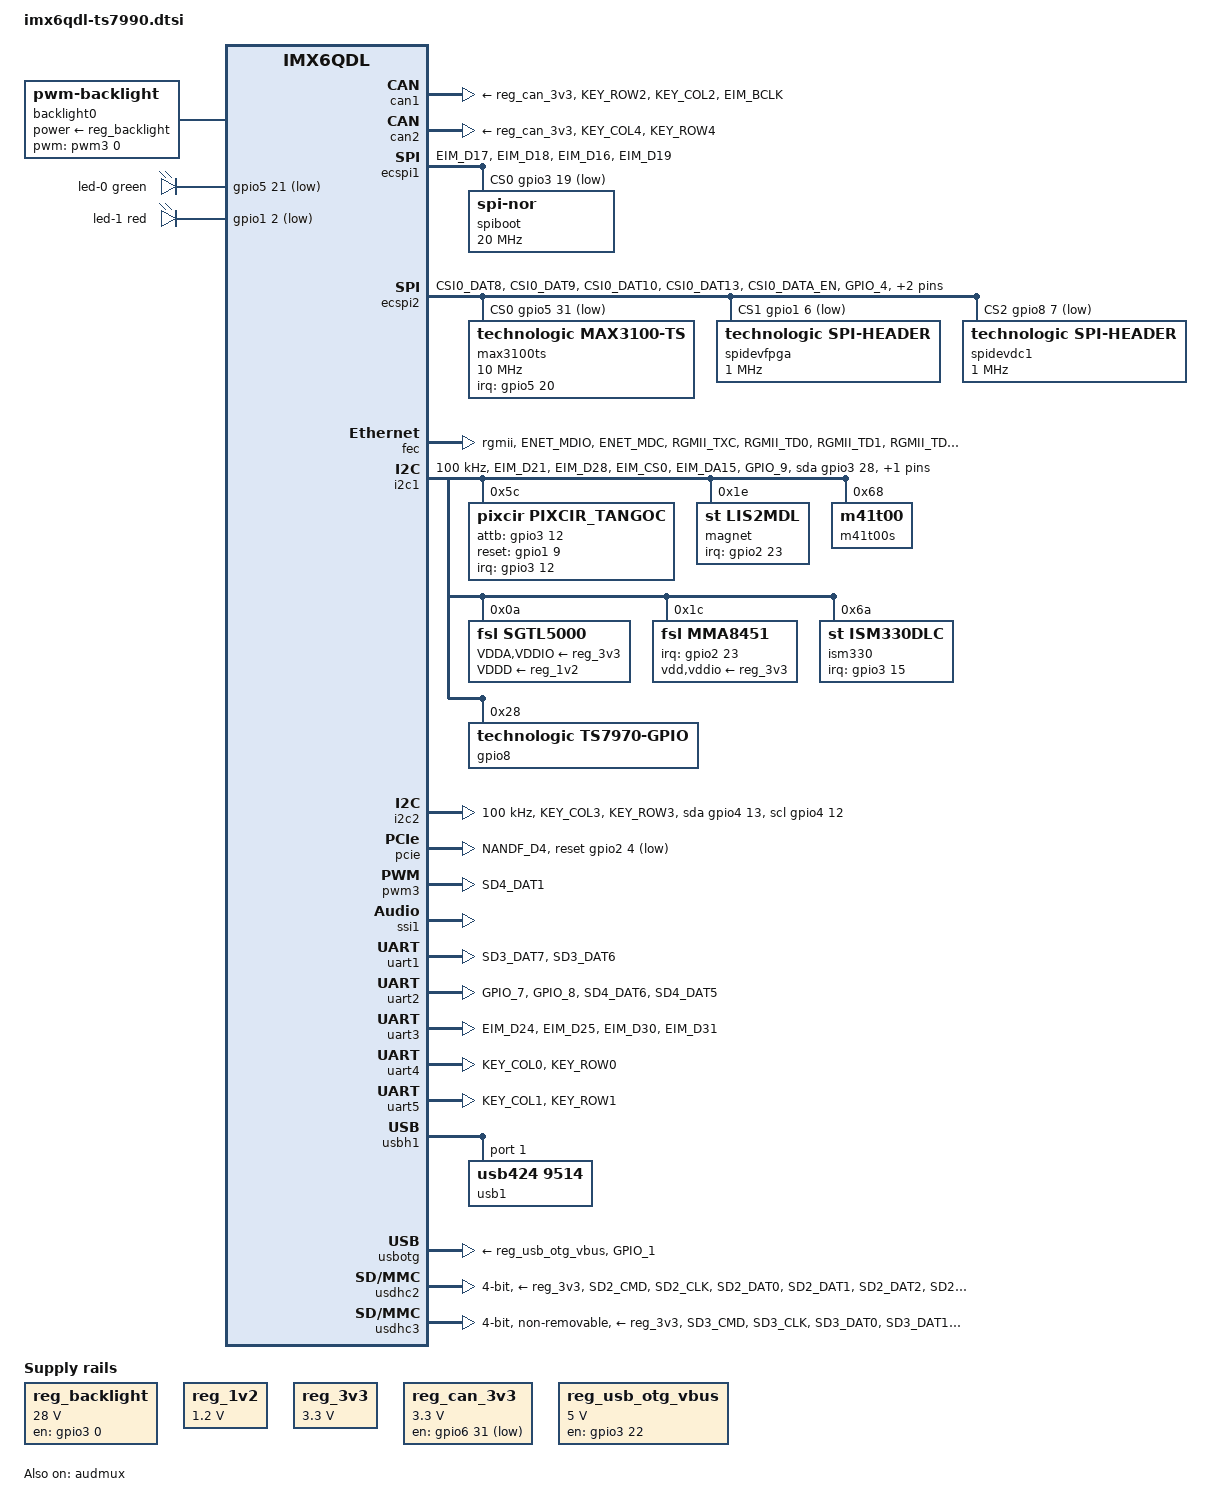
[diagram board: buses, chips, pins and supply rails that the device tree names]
// SPDX-License-Identifier: GPL-2.0 OR X11
/*
 * Copyright 2017-2022 Technologic Systems, Inc. dba embeddedTS
 */

#include <dt-bindings/gpio/gpio.h>
#include <dt-bindings/leds/common.h>
#include <dt-bindings/interrupt-controller/irq.h>

/ {
	chosen {
		stdout-path = &uart1;
	};

	aliases {
		ethernet0 = &fec;
		ethernet1 = &ethernet;
	};

	backlight0: backlight {
		compatible = "pwm-backlight";
		power-supply = <&reg_backlight>;
		pwms = <&pwm3 0 5000000 0>;
		brightness-levels = <0 100>;
		num-interpolated-steps = <100>;
		default-brightness-level = <100>;
	};

	led-controller {
		pinctrl-names = "default";
		pinctrl-0 = <&pinctrl_leds1>;
		compatible = "gpio-leds";

		led-0 {
			color = <LED_COLOR_ID_GREEN>;
			function = LED_FUNCTION_POWER;
			gpios = <&gpio5 21 GPIO_ACTIVE_LOW>;
			default-state = "on";
		};

		led-1 {
			color = <LED_COLOR_ID_RED>;
			function = LED_FUNCTION_INDICATOR;
			gpios = <&gpio1 2 GPIO_ACTIVE_LOW>;
			default-state = "off";
		};
	};


	reg_backlight: regulator-backlight {
		compatible = "regulator-fixed";
		regulator-name = "BACKLIGHT_LCD";
		pinctrl-names = "default";
		pinctrl-0 = <&pinctrl_bkl>;
		regulator-min-microvolt = <28000000>;
		regulator-max-microvolt = <28000000>;
		startup-delay-us = <2000>;
		gpio = <&gpio3 0 GPIO_ACTIVE_HIGH>;
		enable-active-high;
	};

	reg_1v2: regulator-1v2 {
		compatible = "regulator-fixed";
		regulator-name = "1V2";
		regulator-min-microvolt = <1200000>;
		regulator-max-microvolt = <1200000>;
		regulator-always-on;
	};

	reg_3v3: regulator-3v3 {
		compatible = "regulator-fixed";
		regulator-name = "3V3";
		regulator-min-microvolt = <3300000>;
		regulator-max-microvolt = <3300000>;
		regulator-always-on;
	};

	reg_can_3v3: regulator-can-en {
		compatible = "regulator-fixed";
		regulator-name = "CAN_EN";
		regulator-min-microvolt = <3300000>;
		regulator-max-microvolt = <3300000>;
		gpio = <&gpio6 31 GPIO_ACTIVE_HIGH>;
	};

	reg_usb_otg_vbus: regulator-usb-otg-vbus {
		compatible = "regulator-fixed";
		regulator-name = "USB_OTG_VBUS";
		regulator-min-microvolt = <5000000>;
		regulator-max-microvolt = <5000000>;
		gpio = <&gpio3 22 GPIO_ACTIVE_HIGH>;
		enable-active-high;
	};

	reg_wlan_vqmmc: regulator-wlan-vqmmc {
		compatible = "regulator-fixed";
		regulator-name = "WLAN_1V8";
		regulator-min-microvolt = <1800000>;
		regulator-max-microvolt = <1800000>;
		gpio = <&gpio8 14 GPIO_ACTIVE_HIGH>;
		startup-delay-us = <100000>;
		enable-active-high;
		status = "disabled";
	};

	sound {
		audio-codec = <&sgtl5000>;
		audio-routing =
			"MIC_IN", "Mic Jack",
			"Mic Jack", "Mic Bias",
			"Headphone Jack", "HP_OUT";
		compatible = "fsl,imx-audio-sgtl5000";
		model = "On-board Codec";
		mux-ext-port = <3>;
		mux-int-port = <1>;
		ssi-controller = <&ssi1>;
	};

	touch_spi: spi {
		compatible = "spi-gpio";
		pinctrl-names = "default";
		pinctrl-0 = <&pinctrl_touch_spi>;
		gpio-sck = <&gpio2 20 GPIO_ACTIVE_HIGH>;
		gpio-mosi = <&gpio2 18 GPIO_ACTIVE_HIGH>;
		gpio-miso = <&gpio2 17 GPIO_ACTIVE_HIGH>;
		cs-gpios = <&gpio2 19 GPIO_ACTIVE_LOW>;
		num-chipselects = <1>;
		#address-cells = <1>;
		#size-cells = <0>;
		status = "disabled";

		tsc2046: touchscreen@0 {
			compatible = "ti,tsc2046";
			reg = <0>;
			/* Interrupt configured by GPIO hog, shared with cap touch */
			interrupt-parent = <&gpio3>;
			interrupts = <12 IRQ_TYPE_EDGE_FALLING>;
			vcc-supply = <&reg_3v3>;
			spi-max-frequency = <100000>;
			pendown-gpio = <&gpio3 12 0>;
			ti,penirq-recheck-delay-usecs = /bits/ 16 <5000>;
			ti,vref-mv = <3300>;
			ti,swap-xy;
			ti,keep-vref-on;
			ti,settle-delay-usec = /bits/ 16 <5000>;
			ti,vref-delay-usecs = /bits/ 16 <0>;
			ti,x-plate-ohms = /bits/ 16 <400>;
			ti,y-plate-ohms = /bits/ 16 <400>;
			ti,debounce-rep = /bits/ 16 <2>;
			ti,debounce-tol = /bits/ 16 <65535>;
			ti,debounce-max = /bits/ 16 <0>;
			ti,pressure-max = /bits/ 16 <15000>;
			ti,pendown-gpio-debounce = <10000>;
			linux,wakeup;
		};
	};
};

&audmux {
	status = "okay";
};

&can1 {
	pinctrl-names = "default";
	pinctrl-0 = <&pinctrl_flexcan1>;
	xceiver-supply = <&reg_can_3v3>;
	status = "okay";
};

&can2 {
	pinctrl-names = "default";
	pinctrl-0 = <&pinctrl_flexcan2>;
	xceiver-supply = <&reg_can_3v3>;
	status = "okay";
};


&ecspi1 {
	fsl,spi-num-chipselects = <1>;
	cs-gpios = <&gpio3 19 GPIO_ACTIVE_LOW>;
	pinctrl-names = "default";
	pinctrl-0 = <&pinctrl_ecspi1>;
	status = "okay";

	spiboot: flash@0 {
		compatible = "jedec,spi-nor";
		spi-max-frequency = <20000000>;
		reg = <0>;
	};
};

&ecspi2 {
	num-cs = <3>;
	cs-gpios = <
		&gpio5 31 GPIO_ACTIVE_LOW
		&gpio1 6 GPIO_ACTIVE_LOW
		&gpio8 7 GPIO_ACTIVE_LOW
	>;
	pinctrl-names = "default";
	pinctrl-0 = <&pinctrl_ecspi2>;
	status = "okay";

	max3100ts: serial@0 {
		compatible = "technologic,max3100-ts";
		reg = <0>;
		interrupt-parent = <&gpio5>;
		interrupts = <20 IRQ_TYPE_LEVEL_LOW>;
		spi-max-frequency = <10000000>;
		loopback = <0>;
		crystal = <1>;
		poll-time = <100>;
	};

	spidevfpga: spidev@1 {
		compatible = "technologic,spi-header";
		reg = <1>;
		spi-max-frequency = <1000000>;
	};

	spidevdc1: spidev@2 {
		compatible = "technologic,spi-header";
		reg = <2>;
		spi-max-frequency = <1000000>;
	};
};

&fec {
	pinctrl-names = "default";
	pinctrl-0 = <&pinctrl_enet>;
	phy-mode = "rgmii";
	status = "okay";
};

&gpio1 {
	gpio-line-names = "", "", "", "", "", "", "", "", "", "TOUCH_RESET",
		"", "", "", "", "", "", "", "", "", "", "", "",
		"", "", "", "", "", "", "", "", "";
};

&gpio2 {
	gpio-line-names = "", "", "", "", "PCIE_RESET#", "", "", "", "", "", "",
		"USB_HUB_RESET#", "", "", "", "", "", "", "", "", "", "",
		"EN_USB_5V", "", "", "JP_OPTION#", "JP_SD_BOOT#", "", "",
		"EN_800_NIT";
};

&gpio3 {
	gpio-line-names = "", "", "", "", "5V_REG_PWM_MODE", "EN_HUB_3.3V", "",
		"", "", "PUSH_SW_1#", "PUSH_SW_2#", "POE_DETECT#", "", "", "",
		"", "", "", "", "", "", "", "", "EN_EMMC_3.3V#";
};

&gpio4 {
	gpio-line-names = "", "", "", "", "", "", "", "", "", "", "", "", "",
		"", "", "", "", "", "EN_232_TRANS";
};

&gpio5 {
	gpio-line-names = "", "", "", "", "", "", "", "", "", "", "", "", "",
		"", "", "", "", "", "EN_NIM_USB#", "", "", "", "", "", "", "",
		"", "", "", "", "NIM_PWR_ON";
};

&i2c1 {
	clock-frequency = <100000>;
	pinctrl-names = "default", "gpio";
	pinctrl-0 = <&pinctrl_i2c1>;
	pinctrl-1 = <&pinctrl_i2c1_gpio>;
	scl-gpios = <&gpio3 21 (GPIO_ACTIVE_HIGH | GPIO_OPEN_DRAIN)>;
	sda-gpios = <&gpio3 28 (GPIO_ACTIVE_HIGH | GPIO_OPEN_DRAIN)>;
	status = "okay";

	pixcir_tangoc: touchscreen@5c {
		compatible = "pixcir,pixcir_tangoc";
		reg = <0x5c>;
		/* Interrupt configured by GPIO hog, shared with res touch */
		interrupt-parent = <&gpio3>;
		interrupts = <12 IRQ_TYPE_LEVEL_LOW>;
		attb-gpio = <&gpio3 12 GPIO_ACTIVE_HIGH>;
		reset-gpios = <&gpio1 9 GPIO_ACTIVE_HIGH>;
		touchscreen-size-x = <1024>;
		touchscreen-size-y = <600>;
		/*
		 * The actual interrupt pin logic is inverted from touchscreen
		 * INT output pin on the TS-TPC-7990. Indicate that we want the
		 * touchscreen to drive active high, but the CPU interrupt will
		 * actually be active low.
		 */
		invert-int-output;
		wakeup-source;
	};

	/* Only present on REV E and above */
	magnet: magnetometer@1e {
		compatible = "st,lis2mdl";
		reg = <0x1e>;
		st,drdy-int-pin = <1>;
		interrupt-parent = <&gpio2>;
		interrupts = <23 IRQ_TYPE_LEVEL_HIGH>;
	};

	m41t00s: rtc@68 {
		compatible = "m41t00";
		reg = <0x68>;
	};

	sgtl5000: audio-codec@a {
		compatible = "fsl,sgtl5000";
		pinctrl-names = "default";
		pinctrl-0 = <&pinctrl_sgtl5000>;
		reg = <0x0a>;
		clocks = <&clks 201>;
		VDDA-supply = <&reg_3v3>;
		VDDIO-supply = <&reg_3v3>;
		VDDD-supply = <&reg_1v2>;
	};

	/* Only present on REV D and below */
        mma8451: accelerometer@1c {
		compatible = "fsl,mma8451";
		reg = <0x1c>;
		vdd-supply = <&reg_3v3>;
		vddio-supply = <&reg_3v3>;
		interrupt-parent = <&gpio2>;
		interrupts = <23 IRQ_TYPE_LEVEL_LOW>;
		interrupt-names = "INT1";
		/* INT2 is connected to CPU but is unused */
	};

	/* Only present on REV E and above */
	ism330: gyro@6a {
		compatible = "st,ism330dlc";
		reg = <0x6a>;
		interrupt-parent = <&gpio3>;
		interrupts = <15 IRQ_TYPE_LEVEL_HIGH>;
	};

	gpio8: gpio@28 {
		compatible = "technologic,ts7970-gpio";
		reg = <0x28>;
		#gpio-cells = <2>;
		gpio-controller;
		ngpios = <64>;
		base = <224>;

		gpio-line-names = "", "", "", "", "", "", "DIO_8", "DIO_9", "",
			"", "", "", "", "BT_EN", "WL_EN", "", "", "", "", "",
			"DIO_1_SEL0", "DIO_2_SEL1", "DIO_3_SEL2", "DIO_4_PWM",
			"DIO_5_SILAB_DATA", "DIO_6_POWER_FAIL", "DIO_7", "IRQ1",
			"", "", "REBOOT", "", "", "", "", "", "", "", "", "",
			"", "", "", "", "TTYMAX0_RXD", "TTYMAX1_RXD",
			"TTYMAX2_RXD", "TXEN3_485", "COM1_TXD", "COM2_TXD",
			"COM3_TXD", "", "COM1_RTS", "TTYMAX0_CTS",
			"TTYMAX1_CTS", "TTYMAX2_CTS", "", "", "", "",
			"MT_LCD_PRESENT", "EN_SPKR";

		en-spkr-hog {
			gpio-hog;
			gpios = <61 GPIO_ACTIVE_HIGH>;
			line-name = "EN_SPKR";
			output-high;
		};
	};
};

&i2c2 {
	clock-frequency = <100000>;
	pinctrl-names = "default", "gpio";
	pinctrl-0 = <&pinctrl_i2c2>;
	pinctrl-1 = <&pinctrl_i2c2_gpio>;
	scl-gpios = <&gpio4 12 (GPIO_ACTIVE_HIGH | GPIO_OPEN_DRAIN)>;
	sda-gpios = <&gpio4 13 (GPIO_ACTIVE_HIGH | GPIO_OPEN_DRAIN)>;
	status = "okay";
};

&iomuxc {
	pinctrl-names = "default";
	pinctrl-0 = <&pinctrl_hog>;

	imx6-ts7990 {
		pinctrl_ecspi1: ecspi1grp {
			fsl,pins = <
				MX6QDL_PAD_EIM_D17__ECSPI1_MISO		0x100b1
				MX6QDL_PAD_EIM_D18__ECSPI1_MOSI		0x100b1
				MX6QDL_PAD_EIM_D16__ECSPI1_SCLK		0x100b1
				MX6QDL_PAD_EIM_D19__GPIO3_IO19		0x100b1 /* Onboard flash CS1# */
			>;
		};

		pinctrl_ecspi2: ecspi2grp {
			fsl,pins = <
				MX6QDL_PAD_CSI0_DAT8__ECSPI2_SCLK	0x100b1 /* FPGA_SPI_CLK */
				MX6QDL_PAD_CSI0_DAT9__ECSPI2_MOSI	0x100b1 /* FPGA_SPI_MOSI */
				MX6QDL_PAD_CSI0_DAT10__ECSPI2_MISO	0x100b1 /* FPGA_SPI_MISO */
				MX6QDL_PAD_CSI0_DAT13__GPIO5_IO31	0x1b088 /* FPGA_SPI_CS0# */
				MX6QDL_PAD_CSI0_DATA_EN__GPIO5_IO20	0x1b088 /* FPGA_IRQ_0 */
				MX6QDL_PAD_GPIO_4__GPIO1_IO04		0x1b088 /* FPGA_IRQ_1 */
				MX6QDL_PAD_EIM_EB0__GPIO2_IO28		0x1b088 /* FPGA_IRQ_2 */
				MX6QDL_PAD_GPIO_6__GPIO1_IO06		0x1b088 /* FPGA_SPI_CS1# */
			>;
		};

		pinctrl_pwm3: pwm3grp {
			fsl,pins = <
				MX6QDL_PAD_SD4_DAT1__PWM3_OUT		0x1b088
			>;
		};

		pinctrl_enet: enetgrp {
			fsl,pins = <
				MX6QDL_PAD_ENET_MDIO__ENET_MDIO		0x1b0b0
				MX6QDL_PAD_ENET_MDC__ENET_MDC		0x1b0b0
				MX6QDL_PAD_RGMII_TXC__RGMII_TXC		0x1b0b0
				MX6QDL_PAD_RGMII_TD0__RGMII_TD0		0x1b0b0
				MX6QDL_PAD_RGMII_TD1__RGMII_TD1		0x1b0b0
				MX6QDL_PAD_RGMII_TD2__RGMII_TD2		0x1b0b0
				MX6QDL_PAD_RGMII_TD3__RGMII_TD3		0x1b0b0
				MX6QDL_PAD_RGMII_TX_CTL__RGMII_TX_CTL	0x1b0b0
				MX6QDL_PAD_RGMII_RXC__RGMII_RXC		0x1b0b0
				MX6QDL_PAD_RGMII_RD0__RGMII_RD0		0x1b0b0
				MX6QDL_PAD_RGMII_RD1__RGMII_RD1		0x1b0b0
				MX6QDL_PAD_RGMII_RD2__RGMII_RD2		0x1b0b0
				MX6QDL_PAD_RGMII_RD3__RGMII_RD3		0x1b0b0
				MX6QDL_PAD_RGMII_RX_CTL__RGMII_RX_CTL	0x1b0b0
				MX6QDL_PAD_ENET_REF_CLK__ENET_TX_CLK	0x1b0b0
				MX6QDL_PAD_ENET_TX_EN__GPIO1_IO28	0x1b088
				MX6QDL_PAD_DI0_PIN4__GPIO4_IO20		0x1b088 /* ETH_PHY_RESET */
			>;
		};

		pinctrl_bkl: bklreggrp {
			fsl,pins = <
				MX6QDL_PAD_EIM_DA0__GPIO3_IO00		0x1b088
			>;
		};

		pinctrl_flexcan1: flexcan1grp {
			fsl,pins = <
				MX6QDL_PAD_KEY_ROW2__FLEXCAN1_RX	0x1b088
				MX6QDL_PAD_KEY_COL2__FLEXCAN1_TX	0x1b088
				MX6QDL_PAD_EIM_BCLK__GPIO6_IO31		0x1b088 /* EN_CAN# */
			>;
		};

		pinctrl_flexcan2: flexcan2grp {
			fsl,pins = <
				MX6QDL_PAD_KEY_COL4__FLEXCAN2_TX	0x1b088
				MX6QDL_PAD_KEY_ROW4__FLEXCAN2_RX	0x1b088
			>;
		};

		pinctrl_ipu: tsipugrp {
			fsl,pins = <
				MX6QDL_PAD_DI0_DISP_CLK__IPU1_DI0_DISP_CLK	0x38 /* LCD_PIX_CLK */
				MX6QDL_PAD_DI0_PIN15__IPU1_DI0_PIN15		0xf0 /* LCD_DE */
				MX6QDL_PAD_DISP0_DAT2__IPU1_DISP0_DATA02	0xe0 /* LCD_D02 */
				MX6QDL_PAD_DISP0_DAT3__IPU1_DISP0_DATA03	0xe0 /* LCD_D03 */
				MX6QDL_PAD_DISP0_DAT4__IPU1_DISP0_DATA04	0xe0 /* LCD_D04 */
				MX6QDL_PAD_DISP0_DAT5__IPU1_DISP0_DATA05	0xe0 /* LCD_D05 */
				MX6QDL_PAD_DISP0_DAT6__IPU1_DISP0_DATA06	0xe0 /* LCD_D06 */
				MX6QDL_PAD_DISP0_DAT7__IPU1_DISP0_DATA07	0xe0 /* LCD_D07 */
				MX6QDL_PAD_DISP0_DAT10__IPU1_DISP0_DATA10	0xe0 /* LCD_D10 */
				MX6QDL_PAD_DISP0_DAT11__IPU1_DISP0_DATA11	0xe0 /* LCD_D11 */
				MX6QDL_PAD_DISP0_DAT12__IPU1_DISP0_DATA12	0xe0 /* LCD_D12 */
				MX6QDL_PAD_DISP0_DAT13__IPU1_DISP0_DATA13	0xe0 /* LCD_D13 */
				MX6QDL_PAD_DISP0_DAT14__IPU1_DISP0_DATA14	0xe0 /* LCD_D14 */
				MX6QDL_PAD_DISP0_DAT15__IPU1_DISP0_DATA15	0xe0 /* LCD_D15 */
				MX6QDL_PAD_DISP0_DAT18__IPU1_DISP0_DATA18	0xe0 /* LCD_D18 */
				MX6QDL_PAD_DISP0_DAT19__IPU1_DISP0_DATA19	0xe0 /* LCD_D19 */
				MX6QDL_PAD_DISP0_DAT20__IPU1_DISP0_DATA20	0xe0 /* LCD_D20 */
				MX6QDL_PAD_DISP0_DAT21__IPU1_DISP0_DATA21	0xe0 /* LCD_D21 */
				MX6QDL_PAD_DISP0_DAT22__IPU1_DISP0_DATA22	0xe0 /* LCD_D22 */
				MX6QDL_PAD_DISP0_DAT23__IPU1_DISP0_DATA23	0xe0 /* LCD_D23 */
			>;
		};

		pinctrl_i2c1: i2c1grp {
			fsl,pins = <
				MX6QDL_PAD_EIM_D21__I2C1_SCL		0x4001b8b1
				MX6QDL_PAD_EIM_D28__I2C1_SDA		0x4001b8b1
				MX6QDL_PAD_EIM_CS0__GPIO2_IO23		0x17059 /* ACCEL_INT */
				MX6QDL_PAD_EIM_DA15__GPIO3_IO15		0x17059 /* ACCEL_2_INT */
				MX6QDL_PAD_GPIO_9__GPIO1_IO09		0x88 /* TOUCH_RESET */
				MX6QDL_PAD_EIM_CS0__GPIO2_IO23		0x17059 /* MAGNET_IRQ */
				MX6QDL_PAD_EIM_DA15__GPIO3_IO15		0x17059 /* GYRO_IRQ */
			>;
		};

		pinctrl_i2c1_gpio: i2c1gpiogrp {
			fsl,pins = <
				MX6QDL_PAD_EIM_D21__GPIO3_IO21		0x4001b8b1
				MX6QDL_PAD_EIM_D28__GPIO3_IO28		0x4001b8b1
			>;
		};

		pinctrl_i2c2: i2c2grp {
			fsl,pins = <
				MX6QDL_PAD_KEY_COL3__I2C2_SCL		0x4001b8b1
				MX6QDL_PAD_KEY_ROW3__I2C2_SDA		0x4001b8b1
			>;
		};

		pinctrl_i2c2_gpio: i2c2gpiogrp {
			fsl,pins = <
				MX6QDL_PAD_KEY_COL3__GPIO4_IO12		0x4001b8b1
				MX6QDL_PAD_KEY_ROW3__GPIO4_IO13		0x4001b8b1
			>;
		};

		pinctrl_uart1: uart1grp {
			fsl,pins = <
				MX6QDL_PAD_SD3_DAT7__UART1_TX_DATA	0x1b088
				MX6QDL_PAD_SD3_DAT6__UART1_RX_DATA	0x1b088
			>;
		};

		pinctrl_uart2: uart2grp {
			fsl,pins = <
				MX6QDL_PAD_GPIO_7__UART2_TX_DATA	0x1b088
				MX6QDL_PAD_GPIO_8__UART2_RX_DATA	0x1b088
				MX6QDL_PAD_SD4_DAT6__UART2_CTS_B	0x1b088
				MX6QDL_PAD_SD4_DAT5__UART2_RTS_B	0x1b088
			>;
		};

		pinctrl_uart3: uart3grp {
			fsl,pins = <
				MX6QDL_PAD_EIM_D24__UART3_TX_DATA	0x1b088
				MX6QDL_PAD_EIM_D25__UART3_RX_DATA	0x1b088
				MX6QDL_PAD_EIM_D30__UART3_RTS_B		0x1b088
				MX6QDL_PAD_EIM_D31__UART3_CTS_B		0x1b088
			>;
		};

		pinctrl_uart4: uart4grp {
			fsl,pins = <
				MX6QDL_PAD_KEY_COL0__UART4_TX_DATA	0x1b088
				MX6QDL_PAD_KEY_ROW0__UART4_RX_DATA	0x1b088
			>;
		};

		pinctrl_uart5: uart5grp {
			fsl,pins = <
				MX6QDL_PAD_KEY_COL1__UART5_TX_DATA	0x1b088
				MX6QDL_PAD_KEY_ROW1__UART5_RX_DATA	0x1b088
			>;
		};

		pinctrl_usbotg: usbotggrp {
			fsl,pins = <
				MX6QDL_PAD_GPIO_1__USB_OTG_ID		0x17059
			>;
		};

		pinctrl_usdhc1: usdhc1grp {
			fsl,pins = <
				MX6QDL_PAD_SD1_CMD__SD1_CMD		0x17059
				MX6QDL_PAD_SD1_CLK__SD1_CLK		0x10059
				MX6QDL_PAD_SD1_DAT0__SD1_DATA0		0x17059
				MX6QDL_PAD_SD1_DAT1__SD1_DATA1		0x17059
				MX6QDL_PAD_SD1_DAT2__SD1_DATA2		0x17059
				MX6QDL_PAD_SD1_DAT3__SD1_DATA3		0x17059
				MX6QDL_PAD_ENET_RXD1__GPIO1_IO26	0x1f0d9 /* WIFI IRQ */
			>;
		};

		pinctrl_usdhc2: usdhc2grp {
			fsl,pins = <
				MX6QDL_PAD_SD2_CMD__SD2_CMD		0x17059
				MX6QDL_PAD_SD2_CLK__SD2_CLK		0x10059
				MX6QDL_PAD_SD2_DAT0__SD2_DATA0		0x17059
				MX6QDL_PAD_SD2_DAT1__SD2_DATA1		0x17059
				MX6QDL_PAD_SD2_DAT2__SD2_DATA2		0x17059
				MX6QDL_PAD_SD2_DAT3__SD2_DATA3		0x17059
			>;
		};

		pinctrl_usdhc3: usdhc3grp {
			fsl,pins = <
				MX6QDL_PAD_SD3_CMD__SD3_CMD		0x17059
				MX6QDL_PAD_SD3_CLK__SD3_CLK		0x10059
				MX6QDL_PAD_SD3_DAT0__SD3_DATA0		0x17059
				MX6QDL_PAD_SD3_DAT1__SD3_DATA1		0x17059
				MX6QDL_PAD_SD3_DAT2__SD3_DATA2		0x17059
				MX6QDL_PAD_SD3_DAT3__SD3_DATA3		0x17059
				MX6QDL_PAD_EIM_D23__GPIO3_IO23		0x88	/* EN_EMMC_3.3V# */
			>;
		};

		pinctrl_leds1: leds1grp {
			fsl,pins = <
				MX6QDL_PAD_GPIO_2__GPIO1_IO02		0x1b088 /* RED_LED# */
				MX6QDL_PAD_CSI0_VSYNC__GPIO5_IO21	0x1b088 /* GREEN_LED# */
			>;
		};

		pinctrl_pcie: pciegrp {
			fsl,pins = <
				MX6QDL_PAD_NANDF_D4__GPIO2_IO04		0x1b088 /* PCIE_RESET# */
			>;
		};

		pinctrl_sgtl5000: sgtl5000grp {
			fsl,pins = <
				MX6QDL_PAD_CSI0_DAT7__AUD3_RXD		0x130b0
				MX6QDL_PAD_CSI0_DAT4__AUD3_TXC		0x130b0
				MX6QDL_PAD_CSI0_DAT5__AUD3_TXD		0x110b0
				MX6QDL_PAD_CSI0_DAT6__AUD3_TXFS		0x130b0
				MX6QDL_PAD_GPIO_0__CCM_CLKO1		0x130b0 /* Audio CLK */
			>;
		};

		pinctrl_touch_spi: touchspigrp {
			fsl,pins = <
				MX6QDL_PAD_EIM_A18__GPIO2_IO20		0x100b1 /* TOUCH_SPI_CLK */
				MX6QDL_PAD_EIM_A19__GPIO2_IO19		0x180b1 /* TOUCH_SPI_CS# */
				MX6QDL_PAD_EIM_A20__GPIO2_IO18		0x100b1 /* TOUCH_SPI_MOSI */
				MX6QDL_PAD_EIM_A21__GPIO2_IO17		0x100b1 /* TOUCH_SPI_MISO */
			>;
		};

		pinctrl_hog: hoggrp {
			fsl,pins = <
				MX6QDL_PAD_GPIO_3__XTALOSC_REF_CLK_24M	0x10    /* FPGA_24MHZ */
				MX6QDL_PAD_EIM_DA12__GPIO3_IO12		0x1b088 /* TOUCH_IRQ */
				MX6QDL_PAD_SD4_DAT3__GPIO2_IO11		0x1b088 /* USB_HUB_RESET# */
				MX6QDL_PAD_GPIO_16__GPIO7_IO11		0x1b088 /* JTAG_FPGA_TCK */
				MX6QDL_PAD_GPIO_17__GPIO7_IO12		0x1b088 /* JTAG_FPGA_TDI */
				MX6QDL_PAD_GPIO_5__GPIO1_IO05		0x1b088 /* JTAG_FPGA_TMS */
				MX6QDL_PAD_CSI0_MCLK__GPIO5_IO19	0x1b088 /* JTAG_FPGA_TDO */
				MX6QDL_PAD_DI0_PIN2__GPIO4_IO18		0x1b088 /* EN_232_TRANS */
				MX6QDL_PAD_EIM_OE__GPIO2_IO25		0x1b088 /* JP_OPTION# */
				MX6QDL_PAD_EIM_RW__GPIO2_IO26		0x1b088 /* JP_SD_BOOT# */
				MX6QDL_PAD_EIM_A16__GPIO2_IO22		0x1b088 /* EN_USB_5V */
				MX6QDL_PAD_EIM_EB1__GPIO2_IO29		0x1b088 /* EN_800_NIT */
				MX6QDL_PAD_EIM_DA4__GPIO3_IO04		0x1b088 /* 5V_REG_PWM_MODE */
				MX6QDL_PAD_EIM_DA5__GPIO3_IO05		0x1b088 /* EN_HUB_3.3V */
				MX6QDL_PAD_EIM_DA9__GPIO3_IO09		0x1b088 /* PUSH_SW_1# */
				MX6QDL_PAD_EIM_DA10__GPIO3_IO10		0x1b088 /* PUSH_SW_2# */
				MX6QDL_PAD_EIM_DA2__GPIO3_IO02		0x1b088 /* REVB_STRAP */
				MX6QDL_PAD_CSI0_PIXCLK__GPIO5_IO18	0x1b088 /* EN_NIM_USB# */
				MX6QDL_PAD_CSI0_DAT12__GPIO5_IO30	0x1b088 /* NIM_PWR_ON */
			>;
		};
	};
};

&pcie {
	pinctrl-names = "default";
	pinctrl-0 = <&pinctrl_pcie>;
	status = "okay";
	reset-gpio = <&gpio2 4 GPIO_ACTIVE_LOW>;
};

&pwm3 {
	pinctrl-names = "default";
	pinctrl-0 = <&pinctrl_pwm3>;
	status = "okay";
};

&snvs_rtc {
	status = "disabled";
};

&ssi1 {
	status = "okay";
};

&uart1 {
	status = "okay";
	pinctrl-names = "default";
	pinctrl-0 = <&pinctrl_uart1>;
};

&uart2 {
	status = "okay";
	pinctrl-names = "default";
	pinctrl-0 = <&pinctrl_uart2>;
	uart-has-rtscts;
};

&uart3 {
	status = "okay";
	pinctrl-names = "default";
	pinctrl-0 = <&pinctrl_uart3>;
};

&uart4 {
	status = "okay";
	pinctrl-names = "default";
	pinctrl-0 = <&pinctrl_uart4>;
};

&uart5 {
	status = "okay";
	pinctrl-names = "default";
	pinctrl-0 = <&pinctrl_uart5>;
};

&usbh1 {
	#address-cells = <1>;
	#size-cells = <0>;
	status = "okay";

	usb1@1 {
		compatible = "usb424,9514";
		reg = <1>;
		#address-cells = <1>;
		#size-cells = <0>;

		ethernet: usbether@1 {
			compatible = "usb424,ec00";
			reg = <1>;
		};
	};
};

&usbotg {
	vbus-supply = <&reg_usb_otg_vbus>;
	pinctrl-names = "default";
	pinctrl-0 = <&pinctrl_usbotg>;
	disable-over-current;
	status = "okay";
};

&usdhc1 { /* Wifi */
	pinctrl-names = "default";
	pinctrl-0 = <&pinctrl_usdhc1>;
	vqmmc-supply = <&reg_wlan_vqmmc>;
	bus-width = <4>;
	non-removable;
	status = "disabled";

	#address-cells = <1>;
	#size-cells = <0>;
	wl1271: wifi@2 {
		compatible = "ti,wl1271";
		reg = <2>;
		status = "disabled";
		interrupt-parent = <&gpio1>;
		interrupts = <26 IRQ_TYPE_LEVEL_HIGH>;
		ref-clock-frequency = <38400000>;
	};
};

&usdhc2 { /* SD */
	pinctrl-names = "default";
	pinctrl-0 = <&pinctrl_usdhc2>;
	vmmc-supply = <&reg_3v3>;
	vqmmc-supply = <&reg_3v3>;
	bus-width = <4>;
	fsl,wp-controller;
	status = "okay";
};

&usdhc3 { /* eMMC */
	pinctrl-names = "default";
	pinctrl-0 = <&pinctrl_usdhc3>;
	vmmc-supply = <&reg_3v3>;
	vqmmc-supply = <&reg_3v3>;
	bus-width = <4>;
	non-removable;
	no-1-8-v;
	status = "okay";
};
